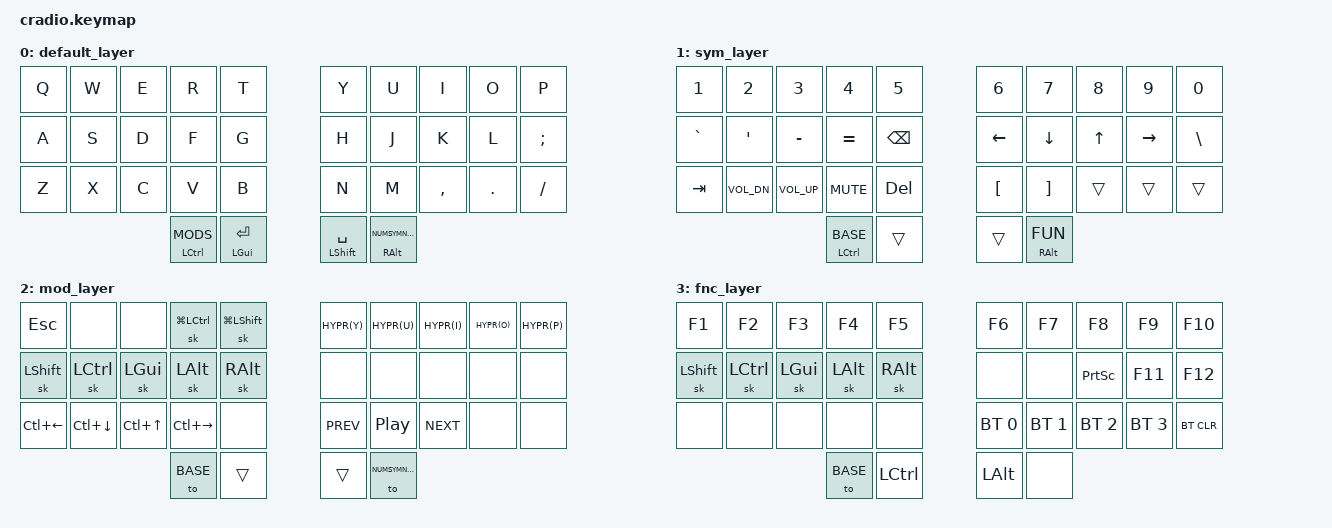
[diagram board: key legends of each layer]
/*
 * Copyright (c) 2020 The ZMK Contributors
 *
 * SPDX-License-Identifier: MIT
 */

#include <behaviors.dtsi>
#include <dt-bindings/zmk/keys.h>
#include <dt-bindings/zmk/bt.h>

// Layer definitions
    #define BASE 0
    #define NUMSYMNAV 1
    #define MODS 2
    #define FUN 3
// -----------------

#define HYPR(key) LS(LC(LA(LG(key))))

 &mt {
	tapping-term-ms = <200>;
 };

/ {
  behaviors {
      sticky_ht: sticky_ht {
        compatible = "zmk,behavior-hold-tap";
        label = "STICKY_HOLD_TAP";
        #binding-cells = <2>;
        tapping-term-ms = <200>;
        bindings = <&kp>, <&sl>;
      };

      hold_to: hold_to {
        compatible = "zmk,behavior-hold-tap";
        label = "HOLD_TO";
        #binding-cells = <2>;
        tapping-term-ms = <200>;
        flavor = "tap-preferred";
        bindings = <&kp>, <&to>;
      };

      ht_tp: hold_tap_preferred {
        compatible = "zmk,behavior-hold-tap";
        label = "HOLD_TAP_PREFEERED";
        #binding-cells = <2>;
        tapping-term-ms = <200>;
        flavor = "tap-preferred";
        bindings = <&kp>, <&kp>;
      };
  };

  keymap {
  compatible = "zmk,keymap";

    // Base alpha layer
    default_layer {

  bindings = <
  &kp Q      &kp W      &kp E      &kp R      &kp T            &kp Y      &kp U      &kp I      &kp O      &kp P
  &kp A      &kp S      &kp D      &kp F      &kp G            &kp H      &kp J      &kp K      &kp L      &kp SEMI
  &kp Z      &kp X      &kp C      &kp V      &kp B            &kp N      &kp M      &kp COMMA  &kp DOT    &kp FSLH
  &sticky_ht LCTRL MODS              &mt LGUI ENTER            &ht_tp LSHIFT SPACE          &hold_to RALT NUMSYMNAV
  >;
  };

		// Numbers, symbols and navigation
		sym_layer {

	bindings = <
	&kp N1     &kp N2       &kp N3       &kp N4      &kp N5          &kp N6      &kp N7      &kp N8   &kp N9      &kp N0
	&kp GRAVE  &kp SQT      &kp MINUS    &kp EQUAL   &kp BSPC        &kp LEFT    &kp DOWN    &kp UP   &kp RIGHT   &kp BSLH
	&kp TAB    &kp C_VOL_DN &kp C_VOL_UP &kp C_MUTE  &kp DEL         &kp LBKT    &kp RBKT    &trans   &trans      &trans
  &hold_to LCTRL BASE                               &trans         &trans                            &hold_to RALT FUN
	>;
	};

		// Main modifiers and media controls
		mod_layer {

	bindings = <
	&kp ESC       &none         &none       &sk LG(LCTRL)  &sk LG(LSHIFT)       &kp HYPR(Y)  &kp HYPR(U)  &kp HYPR(I)  &kp HYPR(O)  &kp HYPR(P)
	&sk LSHIFT    &sk LCTRL     &sk LGUI    &sk LALT       &sk RALT             &none        &none        &none        &none        &none
	&kp LC(LEFT)  &kp LC(DOWN)  &kp LC(UP)  &kp LC(RIGHT)  &none                &kp C_PREV   &kp C_PP     &kp C_NEXT   &none        &none
	&to BASE                                               &trans               &trans                                       &to NUMSYMNAV
	>;
	};

		// Function keys with modifiers and blutetooth
		fnc_layer {
	bindings = <
	&kp F1     &kp F2       &kp F3          &kp F4          &kp F5         &kp F6  &kp F7  &kp F8          &kp F9  &kp F10
	&sk LSHIFT &sk LCTRL    &sk LGUI        &sk LALT        &sk RALT       &none   &none   &kp PRINTSCREEN &kp F11 &kp F12
	&none      &none        &none           &none           &none          &bt BT_SEL 0 &bt BT_SEL 1    &bt BT_SEL 2    &bt BT_SEL 3 &bt BT_CLR
	&to BASE                     &kp LCTRL                                    &kp LALT                &none
	>;
	};
 };
};
